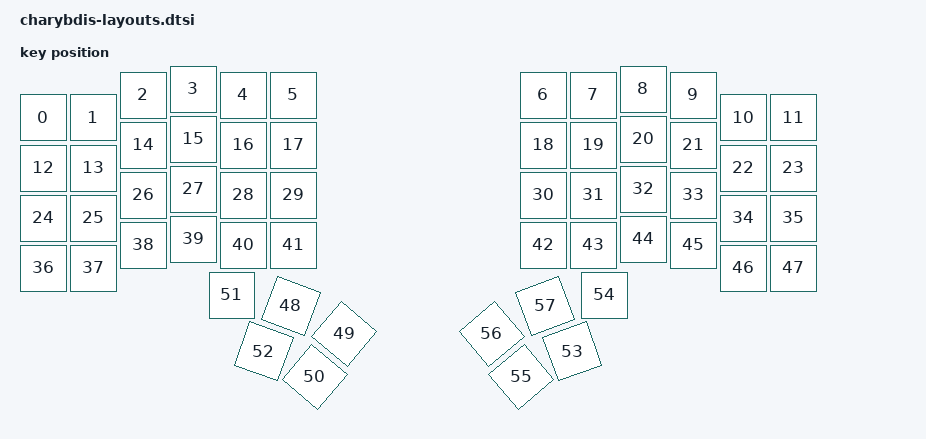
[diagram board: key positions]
#include <physical_layouts.dtsi>

/ {
    physical_layout0: physical_layout_0 {
        compatible = "zmk,physical-layout";
        display-name = "charybdis";
        kscan = <&kscan0>;
        transform = <&matrix_transform0>;

        keys  //                     w   h    x    y     rot    rx    ry
            = <&key_physical_attrs 100 100    0   57       0     0     0>
            , <&key_physical_attrs 100 100  100   57       0     0     0>
            , <&key_physical_attrs 100 100  200   12       0     0     0>
            , <&key_physical_attrs 100 100  300    0       0     0     0>
            , <&key_physical_attrs 100 100  400   12       0     0     0>
            , <&key_physical_attrs 100 100  500   12       0     0     0>
            , <&key_physical_attrs 100 100 1000   12       0     0     0>
            , <&key_physical_attrs 100 100 1100   12       0     0     0>
            , <&key_physical_attrs 100 100 1200    0       0     0     0>
            , <&key_physical_attrs 100 100 1300   12       0     0     0>
            , <&key_physical_attrs 100 100 1400   57       0     0     0>
            , <&key_physical_attrs 100 100 1500   57       0     0     0>
            , <&key_physical_attrs 100 100    0  158       0     0     0>
            , <&key_physical_attrs 100 100  100  158       0     0     0>
            , <&key_physical_attrs 100 100  200  112       0     0     0>
            , <&key_physical_attrs 100 100  300  100       0     0     0>
            , <&key_physical_attrs 100 100  400  112       0     0     0>
            , <&key_physical_attrs 100 100  500  112       0     0     0>
            , <&key_physical_attrs 100 100 1000  112       0     0     0>
            , <&key_physical_attrs 100 100 1100  112       0     0     0>
            , <&key_physical_attrs 100 100 1200  100       0     0     0>
            , <&key_physical_attrs 100 100 1300  112       0     0     0>
            , <&key_physical_attrs 100 100 1400  158       0     0     0>
            , <&key_physical_attrs 100 100 1500  158       0     0     0>
            , <&key_physical_attrs 100 100    0  258       0     0     0>
            , <&key_physical_attrs 100 100  100  258       0     0     0>
            , <&key_physical_attrs 100 100  200  212       0     0     0>
            , <&key_physical_attrs 100 100  300  200       0     0     0>
            , <&key_physical_attrs 100 100  400  212       0     0     0>
            , <&key_physical_attrs 100 100  500  212       0     0     0>
            , <&key_physical_attrs 100 100 1000  212       0     0     0>
            , <&key_physical_attrs 100 100 1100  212       0     0     0>
            , <&key_physical_attrs 100 100 1200  200       0     0     0>
            , <&key_physical_attrs 100 100 1300  212       0     0     0>
            , <&key_physical_attrs 100 100 1400  258       0     0     0>
            , <&key_physical_attrs 100 100 1500  258       0     0     0>
            , <&key_physical_attrs 100 100    0  358       0     0     0>
            , <&key_physical_attrs 100 100  100  358       0     0     0>
            , <&key_physical_attrs 100 100  200  312       0     0     0>
            , <&key_physical_attrs 100 100  300  300       0     0     0>
            , <&key_physical_attrs 100 100  400  312       0     0     0>
            , <&key_physical_attrs 100 100  500  312       0     0     0>
            , <&key_physical_attrs 100 100 1000  312       0     0     0>
            , <&key_physical_attrs 100 100 1100  312       0     0     0>
            , <&key_physical_attrs 100 100 1200  300       0     0     0>
            , <&key_physical_attrs 100 100 1300  312       0     0     0>
            , <&key_physical_attrs 100 100 1400  358       0     0     0>
            , <&key_physical_attrs 100 100 1500  358       0     0     0>
            , <&key_physical_attrs 100 100  348  408    2000   398   890>
            , <&key_physical_attrs 100 100  318  408    4000   398   890>
            , <&key_physical_attrs 100 100  328  512    4000   398   890>
            , <&key_physical_attrs 100 100  378  412       0     0     0>
            , <&key_physical_attrs 100 100  328  512    2000   398   890>
            , <&key_physical_attrs 100 100 1172  512 (-2000)  1202   890>
            , <&key_physical_attrs 100 100 1122  412       0     0     0>
            , <&key_physical_attrs 100 100 1172  512 (-4000)  1202   890>
            , <&key_physical_attrs 100 100 1182  408 (-4000)  1202   890>
            , <&key_physical_attrs 100 100 1152  408 (-2000)  1202   890>
            ;
    };

    position_map {
        compatible = "zmk,physical-layout-position-map";

        charybdis: charybdis {
            physical-layout = <&physical_layout0>;
            positions
                = <12 24 36 13 25 37 14 26 38 15 27 39 16 28 40 17>
                , <29 41 18 30 42 19 31 43 20 32 44 21 33 45 22 34>
                , <46 35 47 23 51 48 49 56 57 54>
                ;
        };
    };
};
